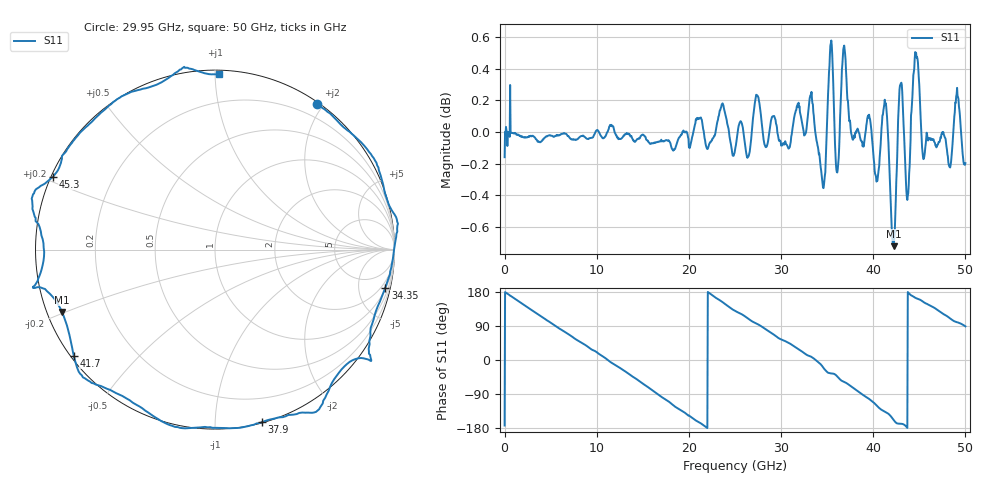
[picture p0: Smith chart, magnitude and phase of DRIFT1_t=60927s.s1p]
!Created with skrf (http://scikit-rf.org).
# Hz S RI R 50.0
!freq ReS11 ImS11
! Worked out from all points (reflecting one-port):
!   1001 points, 300 kHz to 50 GHz, reference 50 ohm
!   lowest |S11| = -0.7 dB at 42.2 GHz (marker M1), VSWR 24.04, Z = 2.16 - j9.77 ohm
!   phase of S11 starts at -173 deg and turns -818 deg over the sweep
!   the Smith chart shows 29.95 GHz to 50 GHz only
!   S11 on the Smith chart (normalised r, x): 29.95 GHz: 0.02, +1.92; 34.35 GHz: 1.14, -8.87; 37.9 GHz: 0.01, -1.31; 41.7 GHz: 0.01, -0.33; 45.3 GHz: 0.01, +0.22; 50 GHz: 0.02, +1.02
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300000  -0.9744 -0.1203
1.450291e9  -0.9127 0.4042
3.25028e9  -0.5929 0.8005
6.250262e9  0.1995 0.9786
9.500243e9  0.8887 0.4492
1.250022e10  0.931 -0.3512
1.580021e10  0.2417 -0.9615
1.74002e10  -0.2226 -0.9684
1.875019e10  -0.5983 -0.7926
2.155017e10  -0.9908 -0.1492
2.345016e10  -0.9301 0.4125
2.500015e10  -0.6298 0.7599
2.745014e10  -0.0844 1.023
2.995012e10  0.5696 0.8139
3.125011e10  0.7834 0.6264
3.31501e10  1.012 0.173
3.435009e10  0.9487 -0.2131
3.520009e10  0.8642 -0.5865
3.750008e10  0.3778 -0.9335
3.790007e10  0.2593 -0.9613
3.960006e10  -0.2385 -0.9819
4.170005e10  -0.7869 -0.5906
4.220005e10  -0.8522 -0.3471
4.290004e10  -1.012 -0.2121
4.375004e10  -0.9546 0.0114
4.530003e10  -0.9013 0.4069
4.765001e10  -0.5094 0.8586
5e10  0.0199 0.9773
